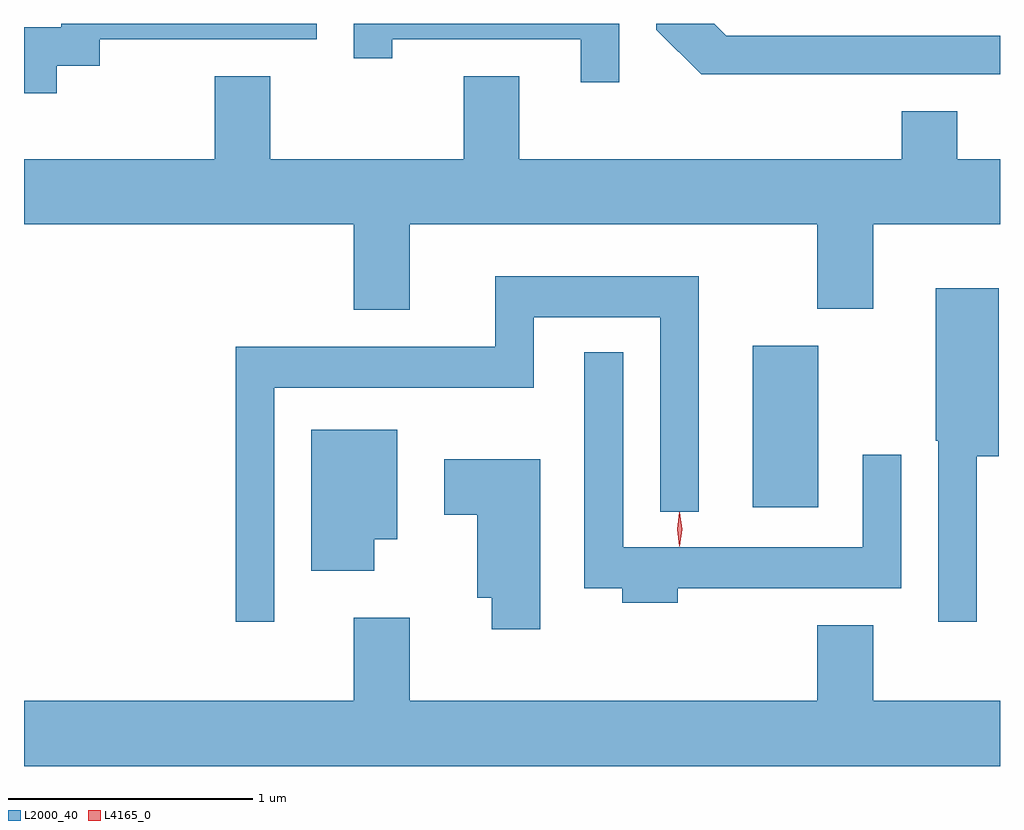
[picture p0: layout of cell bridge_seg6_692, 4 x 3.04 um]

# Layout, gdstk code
import gdstk
lib = gdstk.Library(unit=1e-6, precision=1e-09)
def R(c, l, rs):  # rectangles x0, y0, x1, y1
    for r in rs: c.add(gdstk.rectangle(r[:2], r[2:], *l))
def P(c, l, *ps):  # polygons
    for p in ps: c.add(gdstk.Polygon(p, *l))
L2000_40 = (2000, 40)
L4165_0 = (4165, 0)

bridge_seg6_692 = lib.new_cell('bridge_seg6_692')
R(bridge_seg6_692, L2000_40, [(311.826,1566.636,312.094,1567.299)])
P(bridge_seg6_692, L2000_40, [(311.279,1568.618),(310.191,1568.618),(310.191,1568.478),(310.349,1568.478),(310.349,1568.556),(311.121,1568.556),(311.121,1568.378),(311.279,1568.378)],
  [(312.839,1568.569),(311.717,1568.569),(311.668,1568.618),(311.431,1568.618),(311.431,1568.594),(311.614,1568.411),(312.839,1568.411)],
  [(308.974,1568.446),(309.149,1568.446),(309.149,1568.556),(310.039,1568.556),(310.039,1568.618),(308.991,1568.618),(308.991,1568.604),(308.839,1568.604),(308.839,1568.333),(308.974,1568.333)],
  [(310.419,1567.796),(312.091,1567.796),(312.091,1567.451),(312.319,1567.451),(312.319,1567.796),(312.839,1567.796),(312.839,1568.064),(312.664,1568.064),(312.664,1568.259),(312.436,1568.259),(312.436,1568.064),(310.869,1568.064),(310.869,1568.404),(310.641,1568.404),(310.641,1568.064),(309.849,1568.064),(309.849,1568.404),(309.621,1568.404),(309.621,1568.064),(308.839,1568.064),(308.839,1567.796),(310.191,1567.796),(310.191,1567.446),(310.419,1567.446)],
  [(309.864,1567.126),(310.929,1567.126),(310.929,1567.416),(311.446,1567.416),(311.446,1566.618),(311.604,1566.618),(311.604,1567.584),(310.771,1567.584),(310.771,1567.294),(309.706,1567.294),(309.706,1566.168),(309.864,1566.168)],
  [(312.744,1566.846),(312.834,1566.846),(312.834,1567.534),(312.576,1567.534),(312.576,1566.91),(312.586,1566.91),(312.586,1566.168),(312.744,1566.168)],
  [(311.519,1566.306),(312.434,1566.306),(312.434,1566.853),(312.276,1566.853),(312.276,1566.474),(311.294,1566.474),(311.294,1567.273),(311.136,1567.273),(311.136,1566.306),(311.291,1566.306),(311.291,1566.246),(311.519,1566.246)],
  [(310.274,1566.506),(310.369,1566.506),(310.369,1566.954),(310.016,1566.954),(310.016,1566.376),(310.274,1566.376)],
  [(310.954,1566.834),(310.561,1566.834),(310.561,1566.606),(310.696,1566.606),(310.696,1566.266),(310.756,1566.266),(310.756,1566.136),(310.954,1566.136)],
  [(312.839,1565.844),(312.319,1565.844),(312.319,1566.154),(312.091,1566.154),(312.091,1565.844),(310.419,1565.844),(310.419,1566.184),(310.191,1566.184),(310.191,1565.844),(308.839,1565.844),(308.839,1565.576),(312.839,1565.576)])
P(bridge_seg6_692, L4165_0, [(311.525,1566.48),(311.516,1566.546),(311.525,1566.612),(311.526,1566.613),(311.526,1566.612),(311.536,1566.546),(311.526,1566.48),(311.526,1566.48)],
  [(311.525,1566.477),(311.516,1566.547),(311.525,1566.616),(311.526,1566.616),(311.526,1566.616),(311.536,1566.547),(311.526,1566.477),(311.526,1566.477)])

lib.write_gds('bridge_seg6_692.gds')
